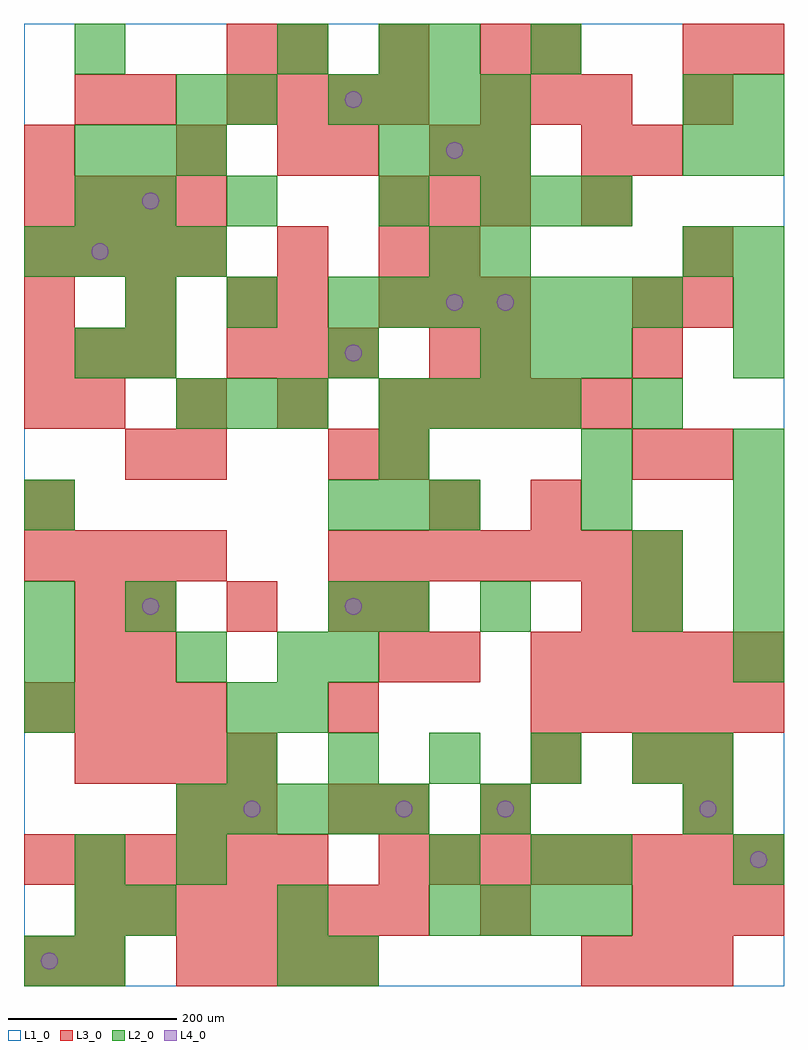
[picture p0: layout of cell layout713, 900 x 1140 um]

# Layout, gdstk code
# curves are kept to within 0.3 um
import gdstk
lib = gdstk.Library(unit=1e-6, precision=1e-09)
def R(c, l, rs):  # rectangles x0, y0, x1, y1
    for r in rs: c.add(gdstk.rectangle(r[:2], r[2:], *l))
def A(c, l, x, y, w, h, nx, ny, dx, dy):  # array of equal rectangles
    R(c, l, [(x+i*dx, y+j*dy, x+i*dx+w, y+j*dy+h) for i in range(nx) for j in range(ny)])
def P(c, l, *ps):  # polygons
    for p in ps: c.add(gdstk.Polygon(p, *l))
L1_0 = (1, 0)
L2_0 = (2, 0)
L3_0 = (3, 0)
L4_0 = (4, 0)

layout713 = lib.new_cell('layout713')
R(layout713, L1_0, [(0,0,900,1140)])
A(layout713, L2_0, 60, 0, 60, 60, 1, 3, 0, 60)
A(layout713, L2_0, 120, 60, 60, 60, 3, 1, 180, 0)
A(layout713, L2_0, 540, 60, 60, 60, 3, 2, 60, 660)
A(layout713, L2_0, 180, 180, 60, 60, 5, 1, 60, 0)
A(layout713, L2_0, 240, 240, 60, 60, 5, 1, 120, 0)
A(layout713, L2_0, 0, 300, 60, 60, 1, 3, 0, 60)
A(layout713, L2_0, 840, 360, 60, 60, 1, 5, 0, 60)
A(layout713, L2_0, 360, 540, 60, 60, 3, 1, 60, 0)
A(layout713, L2_0, 180, 660, 60, 60, 3, 1, 60, 0)
A(layout713, L2_0, 420, 660, 60, 60, 4, 1, 60, 0)
A(layout713, L2_0, 60, 720, 60, 60, 1, 3, 0, 180)
A(layout713, L2_0, 840, 720, 60, 60, 1, 3, 0, 60)
A(layout713, L2_0, 120, 780, 60, 60, 3, 1, 120, 0)
A(layout713, L2_0, 420, 780, 60, 60, 6, 1, 60, 0)
A(layout713, L2_0, 0, 840, 60, 60, 4, 1, 60, 0)
A(layout713, L2_0, 540, 900, 60, 60, 3, 1, 60, 0)
A(layout713, L2_0, 60, 960, 60, 60, 3, 1, 60, 0)
A(layout713, L2_0, 420, 960, 60, 60, 3, 1, 60, 0)
A(layout713, L2_0, 360, 1020, 60, 60, 4, 1, 60, 0)
R(layout713, L2_0, [(0,0,60,60), (300,0,360,60), (360,0,420,60), (180,120,240,180), (480,120,540,180), (600,120,660,180), (660,120,720,180), (840,120,900,180), (540,180,600,240), (780,180,840,240), (780,240,840,300), (240,300,300,360), (300,300,360,360), (180,360,240,420), (300,360,360,420), (360,360,420,420), (120,420,180,480), (360,420,420,480), (420,420,480,480), (540,420,600,480), (720,420,780,480), (720,480,780,540), (0,540,60,600), (660,540,720,600), (420,600,480,660), (660,600,720,660), (720,660,780,720), (120,720,180,780), (360,720,420,780), (480,840,540,900), (540,840,600,900), (780,840,840,900), (120,900,180,960), (240,900,300,960), (420,900,480,960), (780,960,840,1020), (840,960,900,1020), (180,1020,240,1080), (240,1020,300,1080), (780,1020,840,1080), (840,1020,900,1080), (300,1080,360,1140), (420,1080,480,1140), (480,1080,540,1140), (600,1080,660,1140)])
A(layout713, L3_0, 180, 0, 60, 60, 4, 1, 60, 0)
A(layout713, L3_0, 660, 0, 60, 60, 3, 1, 60, 0)
A(layout713, L3_0, 60, 60, 60, 60, 7, 1, 60, 0)
A(layout713, L3_0, 720, 60, 60, 60, 3, 1, 60, 0)
A(layout713, L3_0, 0, 120, 60, 60, 6, 1, 60, 0)
A(layout713, L3_0, 420, 120, 60, 60, 8, 1, 60, 0)
A(layout713, L3_0, 60, 240, 60, 60, 4, 1, 60, 0)
A(layout713, L3_0, 720, 240, 60, 60, 1, 3, 0, 180)
A(layout713, L3_0, 0, 300, 60, 60, 4, 2, 60, 180)
A(layout713, L3_0, 600, 300, 60, 60, 5, 2, 60, 60)
A(layout713, L3_0, 480, 360, 60, 60, 1, 3, 0, 180)
A(layout713, L3_0, 120, 420, 60, 60, 3, 1, 120, 0)
A(layout713, L3_0, 360, 480, 60, 60, 7, 1, 60, 0)
A(layout713, L3_0, 60, 660, 60, 60, 4, 1, 120, 0)
A(layout713, L3_0, 480, 660, 60, 60, 4, 1, 60, 0)
A(layout713, L3_0, 0, 720, 60, 60, 3, 1, 60, 0)
A(layout713, L3_0, 240, 720, 60, 60, 3, 1, 60, 0)
A(layout713, L3_0, 0, 780, 60, 60, 3, 1, 120, 0)
A(layout713, L3_0, 420, 780, 60, 60, 3, 2, 60, 120)
A(layout713, L3_0, 0, 840, 60, 60, 4, 2, 60, 60)
A(layout713, L3_0, 240, 1020, 60, 60, 4, 1, 60, 0)
A(layout713, L3_0, 540, 1020, 60, 60, 3, 1, 60, 0)
A(layout713, L3_0, 300, 1080, 60, 60, 3, 1, 120, 0)
R(layout713, L3_0, [(0,0,60,60), (60,0,120,60), (540,60,600,120), (180,180,240,240), (240,180,300,240), (360,180,420,240), (420,180,480,240), (540,180,600,240), (780,180,840,240), (600,240,660,300), (780,240,840,300), (360,300,420,360), (60,360,120,420), (120,360,180,420), (420,360,480,420), (60,420,120,480), (420,420,480,480), (660,420,720,480), (0,540,60,600), (600,540,660,600), (120,600,180,660), (180,600,240,660), (360,600,420,660), (420,600,480,660), (780,600,840,660), (0,660,60,720), (540,720,600,780), (720,720,780,780), (300,780,360,840), (720,780,780,840), (780,780,840,840), (300,840,360,900), (420,840,480,900), (480,840,540,900), (780,840,840,900), (660,900,720,960), (0,960,60,1020), (180,960,240,1020), (300,960,360,1020), (360,960,420,1020), (480,960,540,1020), (540,960,600,1020), (660,960,720,1020), (720,960,780,1020), (60,1020,120,1080), (120,1020,180,1080), (780,1020,840,1080), (240,1080,300,1140), (600,1080,660,1140), (780,1080,840,1140), (840,1080,900,1140)])
P(layout713, L4_0, [(40,30),(39.239,33.827),(37.071,37.071),(33.827,39.239),(30,40),(26.173,39.239),(22.929,37.071),(20.761,33.827),(20,30),(20.761,26.173),(22.929,22.929),(26.173,20.761),(30,20),(33.827,20.761),(37.071,22.929),(39.239,26.173)],
  [(100,870),(99.239,873.827),(97.071,877.071),(93.827,879.239),(90,880),(86.173,879.239),(82.929,877.071),(80.761,873.827),(80,870),(80.761,866.173),(82.929,862.929),(86.173,860.761),(90,860),(93.827,860.761),(97.071,862.929),(99.239,866.173)],
  [(160,450),(159.239,453.827),(157.071,457.071),(153.827,459.239),(150,460),(146.173,459.239),(142.929,457.071),(140.761,453.827),(140,450),(140.761,446.173),(142.929,442.929),(146.173,440.761),(150,440),(153.827,440.761),(157.071,442.929),(159.239,446.173)],
  [(160,930),(159.239,933.827),(157.071,937.071),(153.827,939.239),(150,940),(146.173,939.239),(142.929,937.071),(140.761,933.827),(140,930),(140.761,926.173),(142.929,922.929),(146.173,920.761),(150,920),(153.827,920.761),(157.071,922.929),(159.239,926.173)],
  [(280,210),(279.239,213.827),(277.071,217.071),(273.827,219.239),(270,220),(266.173,219.239),(262.929,217.071),(260.761,213.827),(260,210),(260.761,206.173),(262.929,202.929),(266.173,200.761),(270,200),(273.827,200.761),(277.071,202.929),(279.239,206.173)],
  [(400,450),(399.239,453.827),(397.071,457.071),(393.827,459.239),(390,460),(386.173,459.239),(382.929,457.071),(380.761,453.827),(380,450),(380.761,446.173),(382.929,442.929),(386.173,440.761),(390,440),(393.827,440.761),(397.071,442.929),(399.239,446.173)],
  [(400,750),(399.239,753.827),(397.071,757.071),(393.827,759.239),(390,760),(386.173,759.239),(382.929,757.071),(380.761,753.827),(380,750),(380.761,746.173),(382.929,742.929),(386.173,740.761),(390,740),(393.827,740.761),(397.071,742.929),(399.239,746.173)],
  [(400,1050),(399.239,1053.827),(397.071,1057.071),(393.827,1059.239),(390,1060),(386.173,1059.239),(382.929,1057.071),(380.761,1053.827),(380,1050),(380.761,1046.173),(382.929,1042.929),(386.173,1040.761),(390,1040),(393.827,1040.761),(397.071,1042.929),(399.239,1046.173)],
  [(460,210),(459.239,213.827),(457.071,217.071),(453.827,219.239),(450,220),(446.173,219.239),(442.929,217.071),(440.761,213.827),(440,210),(440.761,206.173),(442.929,202.929),(446.173,200.761),(450,200),(453.827,200.761),(457.071,202.929),(459.239,206.173)],
  [(520,810),(519.239,813.827),(517.071,817.071),(513.827,819.239),(510,820),(506.173,819.239),(502.929,817.071),(500.761,813.827),(500,810),(500.761,806.173),(502.929,802.929),(506.173,800.761),(510,800),(513.827,800.761),(517.071,802.929),(519.239,806.173)],
  [(520,990),(519.239,993.827),(517.071,997.071),(513.827,999.239),(510,1000),(506.173,999.239),(502.929,997.071),(500.761,993.827),(500,990),(500.761,986.173),(502.929,982.929),(506.173,980.761),(510,980),(513.827,980.761),(517.071,982.929),(519.239,986.173)],
  [(580,210),(579.239,213.827),(577.071,217.071),(573.827,219.239),(570,220),(566.173,219.239),(562.929,217.071),(560.761,213.827),(560,210),(560.761,206.173),(562.929,202.929),(566.173,200.761),(570,200),(573.827,200.761),(577.071,202.929),(579.239,206.173)],
  [(580,810),(579.239,813.827),(577.071,817.071),(573.827,819.239),(570,820),(566.173,819.239),(562.929,817.071),(560.761,813.827),(560,810),(560.761,806.173),(562.929,802.929),(566.173,800.761),(570,800),(573.827,800.761),(577.071,802.929),(579.239,806.173)],
  [(820,210),(819.239,213.827),(817.071,217.071),(813.827,219.239),(810,220),(806.173,219.239),(802.929,217.071),(800.761,213.827),(800,210),(800.761,206.173),(802.929,202.929),(806.173,200.761),(810,200),(813.827,200.761),(817.071,202.929),(819.239,206.173)],
  [(880,150),(879.239,153.827),(877.071,157.071),(873.827,159.239),(870,160),(866.173,159.239),(862.929,157.071),(860.761,153.827),(860,150),(860.761,146.173),(862.929,142.929),(866.173,140.761),(870,140),(873.827,140.761),(877.071,142.929),(879.239,146.173)])

lib.write_gds('layout713.gds')
